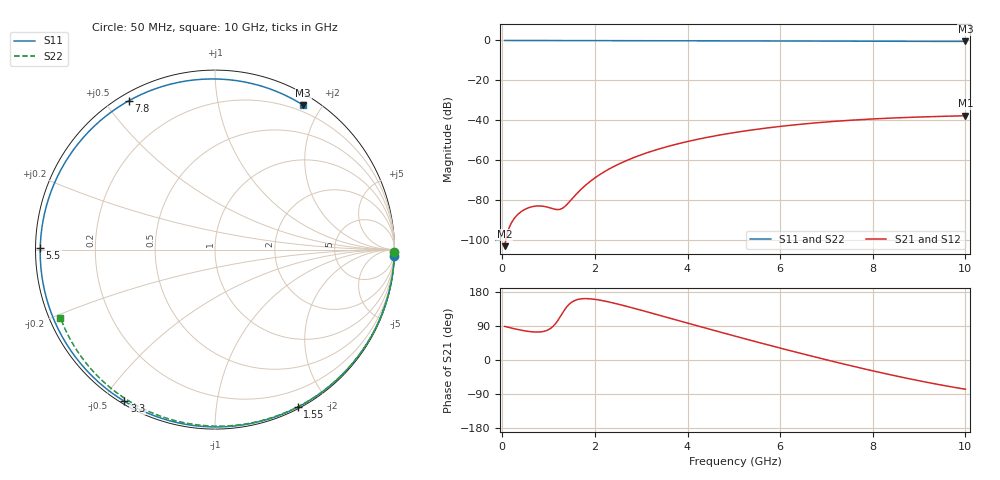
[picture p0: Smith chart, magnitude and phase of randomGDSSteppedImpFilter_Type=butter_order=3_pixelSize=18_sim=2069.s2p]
! freq	dB(S11)	phase(S11)	dB(S12)	phase(S12)
!  dB(S21)	phase(S21)	dB(S22)	phase(S22)
!S-par simulation data
#  GHz  S  DB  R 50
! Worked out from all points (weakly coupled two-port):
!   200 points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, 50 MHz to 10 GHz, reference 50 ohm
!   highest |S21| = -37.81 dB at 10 GHz (marker M1); lowest = -103.3 dB at 50 MHz (marker M2)
!   lowest |S11| = -0.5 dB at 10 GHz (marker M3), VSWR 34.10, Z = 6.09 + j88.7 ohm
!   |S11| at or under -10 dB: nowhere
!   |S22| runs from -0.5 to 0.0 dB; largest |S21 - S12| = 0
!   S11 on the Smith chart (normalised r, x): 50 MHz: 0, -54; 1.55 GHz: 0.02, -1.65; 3.3 GHz: 0.01, -0.57; 5.5 GHz: 0.01, +0.01; 7.8 GHz: 0.03, +0.58; 10 GHz: 0.12, +1.77
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0.05  -0.00 -2.1  -103.30 88.6  -103.30 88.6  -0.00 -0.9
0.4  -0.02 -16.7  -86.09 78.9  -86.09 78.9  -0.01 -7.2
0.75  -0.04 -31.0  -83.13 73.7  -83.13 73.7  -0.02 -13.5
1.1  -0.06 -45.0  -84.53 89.2  -84.53 89.2  -0.03 -19.8
1.45  -0.07 -58.6  -81.01 147.8  -81.01 147.8  -0.03 -26.0
1.5  -0.07 -60.4  -79.70 152.6  -79.70 152.6  -0.03 -26.9
1.55  -0.08 -62.3  -78.40 156.1  -78.40 156.1  -0.04 -27.7
1.75  -0.08 -69.7  -73.69 161.9  -73.69 161.9  -0.04 -31.2
2.05  -0.10 -80.4  -68.20 159.1  -68.20 159.1  -0.05 -36.5
2.4  -0.11 -92.4  -63.40 150.3  -63.40 150.3  -0.05 -42.5
2.85  -0.12 -107.1  -58.72 136.3  -58.72 136.3  -0.07 -50.1
3.3  -0.14 -120.9  -55.08 121.2  -55.08 121.2  -0.08 -57.6
3.4  -0.14 -123.8  -54.38 117.8  -54.38 117.8  -0.08 -59.2
4.2  -0.17 -146.5  -49.72 90.6  -49.72 90.6  -0.10 -72.1
5.05  -0.21 -169.1  -46.11 62.2  -46.11 62.2  -0.13 -85.4
5.5  -0.23 179.3  -44.60 47.5  -44.60 47.5  -0.15 -92.2
6.1  -0.27 164.1  -42.90 28.3  -42.90 28.3  -0.18 -101.1
6.7  -0.30 148.7  -41.52 9.6  -41.52 9.6  -0.21 -109.8
7.8  -0.37 120.0  -39.67 -23.0  -39.67 -23.0  -0.29 -125.3
8.35  -0.40 105.1  -39.02 -38.2  -39.02 -38.2  -0.34 -133.0
9.15  -0.45 82.9  -38.34 -58.4  -38.34 -58.4  -0.42 -144.2
10  -0.51 58.7  -37.81 -77.1  -37.81 -77.1  -0.53 -156.2
